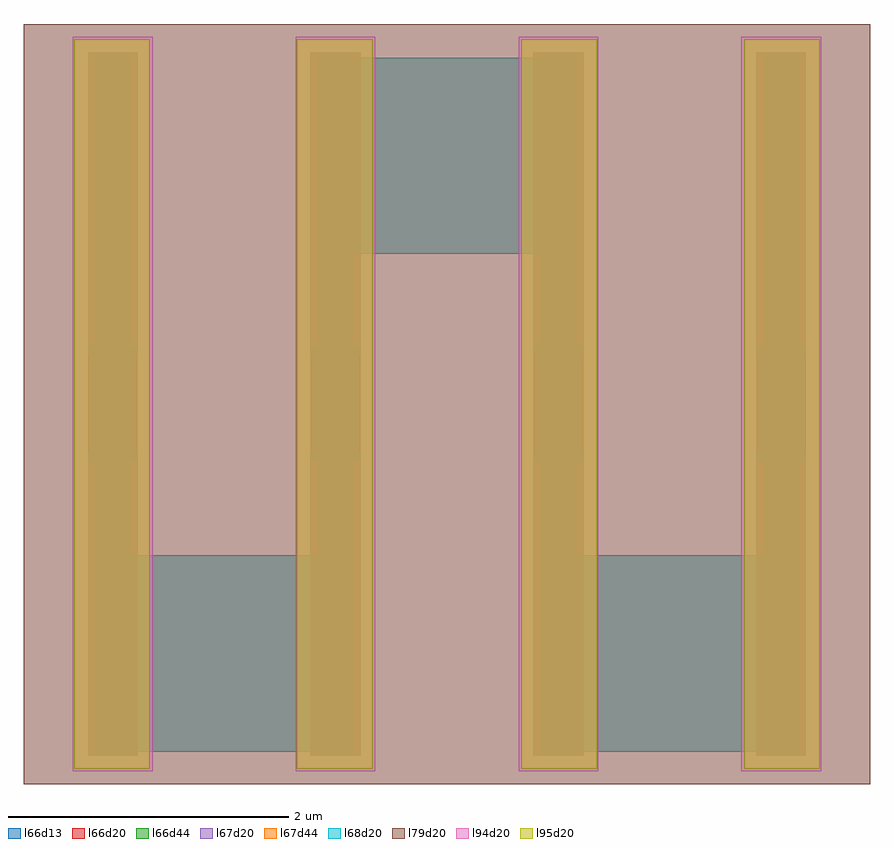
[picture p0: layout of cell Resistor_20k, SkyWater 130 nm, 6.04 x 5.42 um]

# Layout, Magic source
magic
tech sky130a
<< l68d20 >>
rect 591 348 725 488
rect 750 703 884 843
rect 909 348 1043 488
use sky130_fd_pr__res_xhigh_po_0p35_2RLX6B sky130_fd_pr__res_xhigh_po_0p35_2RLX6B_1
transform 1 0 817 0 1 596
box -302 -271 302 271
<< end >>

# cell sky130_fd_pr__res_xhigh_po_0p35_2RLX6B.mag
magic
tech sky130a
<< l67d20 >>
rect -256 35 -221 251
rect -97 35 -62 251
rect 62 35 97 251
rect 221 35 256 251
rect -256 -251 -221 -35
rect -97 -251 -62 -35
rect 62 -251 97 -35
rect 221 -251 256 -35
<< l66d20 >>
rect -256 -251 -221 251
rect -97 -251 -62 251
rect 62 -251 97 251
rect 221 -251 256 251
<< l66d44 >>
rect -247 44 -230 61
rect -247 44 -230 61
rect 230 224 247 241
rect 230 188 247 205
rect -247 -241 -230 -224
rect -247 -241 -230 -224
rect 230 -61 247 -44
rect 230 -97 247 -80
rect -247 -205 -230 -188
rect -247 -169 -230 -152
rect -247 -133 -230 -116
rect -247 -97 -230 -80
rect -247 -61 -230 -44
rect -247 -205 -230 -188
rect -247 -169 -230 -152
rect -247 -133 -230 -116
rect -247 -97 -230 -80
rect -247 -61 -230 -44
rect -88 -61 -71 -44
rect -88 -97 -71 -80
rect -88 -133 -71 -116
rect -88 -169 -71 -152
rect -88 -205 -71 -188
rect -88 -61 -71 -44
rect -88 -97 -71 -80
rect -88 -133 -71 -116
rect -88 -169 -71 -152
rect -88 -205 -71 -188
rect -88 -241 -71 -224
rect -88 -241 -71 -224
rect 71 -61 88 -44
rect 71 -97 88 -80
rect 71 -133 88 -116
rect 71 -169 88 -152
rect 71 -205 88 -188
rect 71 -61 88 -44
rect 71 -97 88 -80
rect 71 -133 88 -116
rect 71 -169 88 -152
rect 71 -205 88 -188
rect 71 -241 88 -224
rect 71 -241 88 -224
rect 230 -133 247 -116
rect 230 -169 247 -152
rect 230 -205 247 -188
rect 230 -61 247 -44
rect 230 -97 247 -80
rect 230 -133 247 -116
rect 230 -169 247 -152
rect 230 -205 247 -188
rect 230 -241 247 -224
rect 230 -241 247 -224
rect -247 80 -230 97
rect -247 116 -230 133
rect -247 152 -230 169
rect -247 188 -230 205
rect -247 224 -230 241
rect -247 80 -230 97
rect -247 116 -230 133
rect -247 152 -230 169
rect -247 188 -230 205
rect -247 224 -230 241
rect -88 224 -71 241
rect -88 188 -71 205
rect -88 152 -71 169
rect -88 116 -71 133
rect -88 80 -71 97
rect -88 224 -71 241
rect -88 188 -71 205
rect -88 152 -71 169
rect -88 116 -71 133
rect -88 80 -71 97
rect -88 44 -71 61
rect -88 44 -71 61
rect 71 224 88 241
rect 71 188 88 205
rect 71 152 88 169
rect 71 116 88 133
rect 71 80 88 97
rect 71 224 88 241
rect 71 188 88 205
rect 71 152 88 169
rect 71 116 88 133
rect 71 80 88 97
rect 71 44 88 61
rect 71 44 88 61
rect 230 152 247 169
rect 230 116 247 133
rect 230 80 247 97
rect 230 224 247 241
rect 230 188 247 205
rect 230 152 247 169
rect 230 116 247 133
rect 230 80 247 97
rect 230 44 247 61
rect 230 44 247 61
<< l94d20 >>
rect -267 -262 -210 262
rect -108 -262 -51 262
rect 51 -262 108 262
rect 210 -262 267 262
<< l67d44 >>
rect 71 224 88 241
rect 230 224 247 241
rect 71 188 88 205
rect 230 188 247 205
rect 71 152 88 169
rect 230 152 247 169
rect 71 116 88 133
rect 230 116 247 133
rect 71 80 88 97
rect 230 80 247 97
rect 71 44 88 61
rect 230 44 247 61
rect 71 224 88 241
rect 230 224 247 241
rect 71 188 88 205
rect 230 188 247 205
rect 71 152 88 169
rect 230 152 247 169
rect 71 116 88 133
rect 230 116 247 133
rect 71 80 88 97
rect 230 80 247 97
rect 71 44 88 61
rect 230 44 247 61
rect 71 44 88 61
rect 71 44 88 61
rect 71 80 88 97
rect 71 80 88 97
rect 71 116 88 133
rect 71 116 88 133
rect 71 152 88 169
rect 71 152 88 169
rect 71 188 88 205
rect 71 188 88 205
rect 71 224 88 241
rect 71 224 88 241
rect 230 224 247 241
rect 230 188 247 205
rect 230 152 247 169
rect 230 116 247 133
rect 230 80 247 97
rect 230 44 247 61
rect 230 44 247 61
rect 230 44 247 61
rect 230 80 247 97
rect 230 80 247 97
rect 230 116 247 133
rect 230 116 247 133
rect 230 152 247 169
rect 230 152 247 169
rect 230 188 247 205
rect 230 188 247 205
rect 230 224 247 241
rect 230 224 247 241
rect -88 152 -71 169
rect -88 152 -71 169
rect -88 188 -71 205
rect -88 188 -71 205
rect -88 224 -71 241
rect -88 224 -71 241
rect -247 224 -230 241
rect -247 224 -230 241
rect -247 116 -230 133
rect -88 116 -71 133
rect -247 188 -230 205
rect -247 188 -230 205
rect -247 224 -230 241
rect -88 224 -71 241
rect -247 152 -230 169
rect -247 152 -230 169
rect -247 80 -230 97
rect -88 80 -71 97
rect -247 116 -230 133
rect -247 116 -230 133
rect -247 152 -230 169
rect -88 152 -71 169
rect -247 80 -230 97
rect -247 80 -230 97
rect -247 44 -230 61
rect -88 44 -71 61
rect -247 44 -230 61
rect -247 44 -230 61
rect -247 188 -230 205
rect -88 188 -71 205
rect -88 44 -71 61
rect -88 44 -71 61
rect -88 80 -71 97
rect -88 80 -71 97
rect -88 116 -71 133
rect -88 116 -71 133
rect -88 -133 -71 -116
rect -88 -133 -71 -116
rect -88 -97 -71 -80
rect -88 -97 -71 -80
rect -88 -61 -71 -44
rect -88 -61 -71 -44
rect -247 -61 -230 -44
rect -247 -61 -230 -44
rect -247 -97 -230 -80
rect -247 -97 -230 -80
rect -247 -133 -230 -116
rect -247 -133 -230 -116
rect -247 -169 -230 -152
rect -247 -169 -230 -152
rect -247 -205 -230 -188
rect -247 -205 -230 -188
rect -247 -241 -230 -224
rect -247 -241 -230 -224
rect -88 -241 -71 -224
rect -88 -241 -71 -224
rect -88 -205 -71 -188
rect -88 -205 -71 -188
rect -88 -169 -71 -152
rect -88 -169 -71 -152
rect 230 -61 247 -44
rect 230 -97 247 -80
rect 230 -133 247 -116
rect 230 -169 247 -152
rect 230 -205 247 -188
rect 230 -241 247 -224
rect 230 -241 247 -224
rect 230 -241 247 -224
rect 230 -205 247 -188
rect 230 -205 247 -188
rect 230 -169 247 -152
rect 230 -169 247 -152
rect 230 -133 247 -116
rect 230 -133 247 -116
rect 230 -97 247 -80
rect 230 -97 247 -80
rect 230 -61 247 -44
rect 230 -61 247 -44
rect 71 -97 88 -80
rect 230 -97 247 -80
rect 71 -169 88 -152
rect 230 -169 247 -152
rect 71 -61 88 -44
rect 230 -61 247 -44
rect 71 -205 88 -188
rect 230 -205 247 -188
rect 71 -133 88 -116
rect 230 -133 247 -116
rect 71 -241 88 -224
rect 230 -241 247 -224
rect 71 -241 88 -224
rect 71 -241 88 -224
rect 71 -205 88 -188
rect 71 -205 88 -188
rect 71 -169 88 -152
rect 71 -169 88 -152
rect 71 -133 88 -116
rect 71 -133 88 -116
rect 71 -97 88 -80
rect 71 -97 88 -80
rect 71 -61 88 -44
rect 71 -61 88 -44
<< l68d20 >>
rect -251 37 -226 248
rect -92 37 -67 248
rect 67 37 92 248
rect 226 37 251 248
rect -251 -248 -226 -37
rect -92 -248 -67 -37
rect 67 -248 92 -37
rect 226 -248 251 -37
<< l79d20 >>
rect -302 -271 302 271
<< l95d20 >>
rect -266 -260 -212 260
rect -107 -260 -53 260
rect 53 -260 107 260
rect 212 -260 266 260
<< l66d13 >>
rect -256 -41 -221 41
rect -97 -41 -62 41
rect 62 -41 97 41
rect 221 -41 256 41
<< end >>
